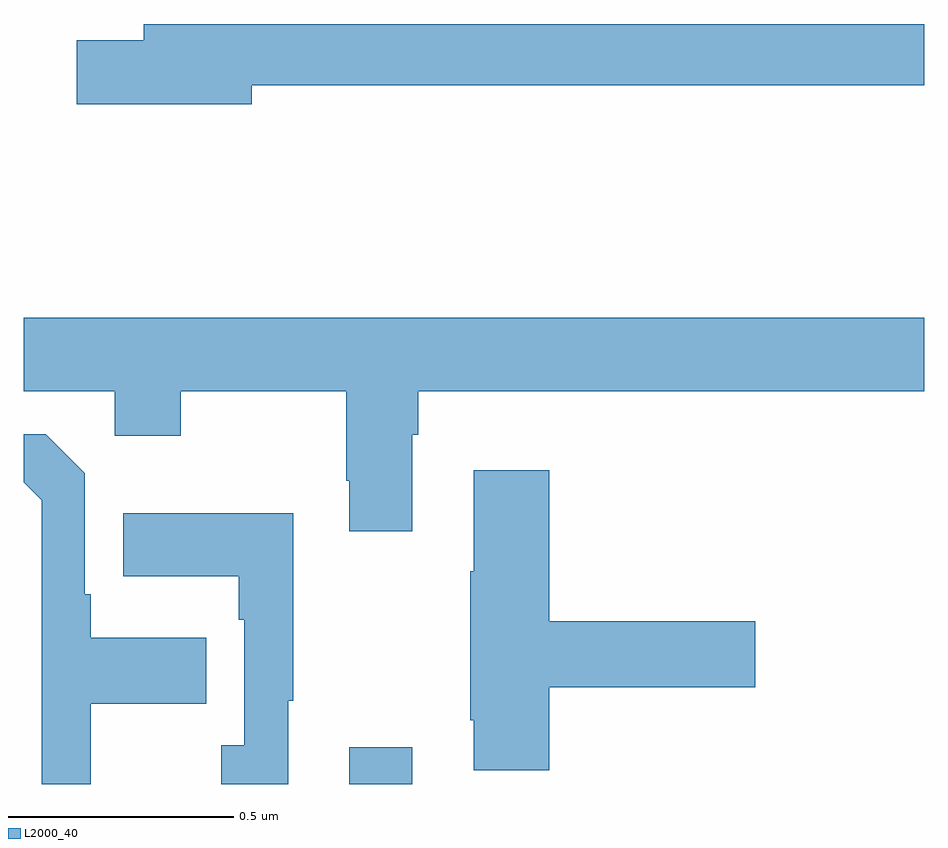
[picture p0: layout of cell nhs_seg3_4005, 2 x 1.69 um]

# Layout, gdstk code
import gdstk
lib = gdstk.Library(unit=1e-6, precision=1e-09)
def R(c, l, rs):  # rectangles x0, y0, x1, y1
    for r in rs: c.add(gdstk.rectangle(r[:2], r[2:], *l))
def P(c, l, *ps):  # polygons
    for p in ps: c.add(gdstk.Polygon(p, *l))
L2000_40 = (2000, 40)

nhs_seg3_4005 = lib.new_cell('nhs_seg3_4005')
R(nhs_seg3_4005, L2000_40, [(161.723,677.4,161.863,677.482)])
P(nhs_seg3_4005, L2000_40, [(161.506,678.952),(163,678.952),(163,679.088),(161.267,679.088),(161.267,679.052),(161.118,679.052),(161.118,678.91),(161.506,678.91)],
  [(161.863,678.176),(161.876,678.176),(161.876,678.272),(163,678.272),(163,678.436),(161,678.436),(161,678.272),(161.202,678.272),(161.202,678.173),(161.349,678.173),(161.349,678.272),(161.716,678.272),(161.716,678.073),(161.723,678.073),(161.723,677.961),(161.863,677.961)],
  [(161.149,677.578),(161.405,677.578),(161.405,677.725),(161.149,677.725),(161.149,677.821),(161.136,677.821),(161.136,678.09),(161.049,678.177),(161,678.177),(161,678.07),(161.04,678.03),(161.04,677.4),(161.149,677.4)],
  [(162.167,677.615),(162.625,677.615),(162.625,677.762),(162.167,677.762),(162.167,678.097),(161.999,678.097),(161.999,677.873),(161.992,677.873),(161.992,677.542),(161.999,677.542),(161.999,677.43),(162.167,677.43)],
  [(161.587,677.585),(161.599,677.585),(161.599,678.001),(161.221,678.001),(161.221,677.861),(161.478,677.861),(161.478,677.765),(161.49,677.765),(161.49,677.486),(161.439,677.486),(161.439,677.4),(161.587,677.4)])

lib.write_gds('nhs_seg3_4005.gds')
